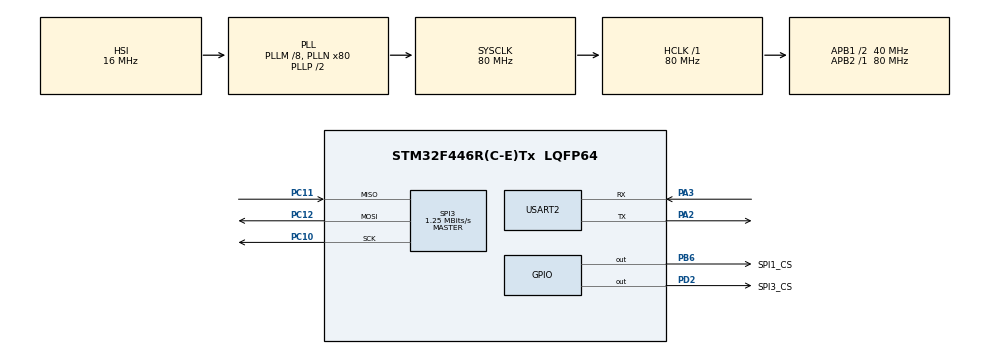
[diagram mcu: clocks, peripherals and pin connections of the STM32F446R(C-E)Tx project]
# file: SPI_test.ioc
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Mcu.Family=STM32F4
Mcu.Name=STM32F446R(C-E)Tx
Mcu.Package=LQFP64
NVIC.PriorityGroup=NVIC_PRIORITYGROUP_4
PA2.Mode=Asynchronous
PA2.Signal=USART2_TX
PA3.Mode=Asynchronous
PA3.Signal=USART2_RX
PB6.GPIO_Label=SPI1_CS
PB6.GPIO_Speed=GPIO_SPEED_FREQ_VERY_HIGH
PB6.PinState=GPIO_PIN_SET
PB6.Signal=GPIO_Output
PC10.Mode=Full_Duplex_Master
PC10.Signal=SPI3_SCK
PC11.Mode=Full_Duplex_Master
PC11.Signal=SPI3_MISO
PC12.Mode=Full_Duplex_Master
PC12.Signal=SPI3_MOSI
PD2.GPIO_Label=SPI3_CS
PD2.Signal=GPIO_Output
ProjectManager.HeapSize=0x200
ProjectManager.StackSize=0x400
ProjectManager.TargetToolchain=STM32CubeIDE
RCC.AHBFreq_Value=80000000
RCC.APB1CLKDivider=RCC_HCLK_DIV2
RCC.APB1Freq_Value=40000000
RCC.APB1TimFreq_Value=80000000
RCC.APB2Freq_Value=80000000
RCC.APB2TimFreq_Value=80000000
RCC.CortexFreq_Value=80000000
RCC.HCLKFreq_Value=80000000
RCC.PLLM=8
RCC.PLLN=80
RCC.SYSCLKFreq_VALUE=80000000
RCC.SYSCLKSource=RCC_SYSCLKSOURCE_PLLCLK
RCC.USBFreq_Value=80000000
RCC.VCOOutputFreq_Value=160000000
SPI3.BaudRatePrescaler=SPI_BAUDRATEPRESCALER_32
SPI3.CLKPhase=SPI_PHASE_2EDGE
SPI3.CalculateBaudRate=1.25 MBits/s
SPI3.Direction=SPI_DIRECTION_2LINES
SPI3.Mode=SPI_MODE_MASTER
SPI3.VirtualType=VM_MASTER
USART2.VirtualMode=VM_ASYNC
board=custom

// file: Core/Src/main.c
/* USER CODE BEGIN Header */
/**
  ******************************************************************************
  * @file           : main.c
  * @brief          : Main program body
  ******************************************************************************
  * @attention
  *
  * Copyright (c) 2025 STMicroelectronics.
  * All rights reserved.
  *
  * This software is licensed under terms that can be found in the LICENSE file
  * in the root directory of this software component.
  * If no LICENSE file comes with this software, it is provided AS-IS.
  *
  ******************************************************************************
  */
/* USER CODE END Header */
#include "main.h"
#include "spi.h"
#include "usart.h"
#include "gpio.h"

/* USER CODE BEGIN Includes */
#include <stdio.h>
#include "as5048a.h"
#include "delay_us.h"
/* USER CODE END Includes */

void SystemClock_Config(void);

/* USER CODE BEGIN 0 */
int __io_putchar(int ch)
{
    if (ch == '\n') {
        uint8_t ch2 = '\r';
        HAL_UART_Transmit(&huart2, &ch2, 1, HAL_MAX_DELAY);
    }

    HAL_UART_Transmit(&huart2, (uint8_t*)&ch, 1, HAL_MAX_DELAY);
    return 1;
}
/* USER CODE END 0 */

int main(void)
{

  /* MCU Configuration--------------------------------------------------------*/

  /* Reset of all peripherals, Initializes the Flash interface and the Systick. */
  HAL_Init();

  /* Configure the system clock */
  SystemClock_Config();

  /* Initialize all configured peripherals */
  MX_GPIO_Init();
  MX_USART2_UART_Init();
  MX_SPI3_Init();
  /* USER CODE BEGIN 2 */
  DWT_Init();
  /* USER CODE END 2 */

  /* Infinite loop */
  /* USER CODE BEGIN WHILE */
  while (1)
  {
//	  HAL_GPIO_WritePin(SPI1_CS_GPIO_Port, SPI1_CS_Pin, GPIO_PIN_RESET);
//
//	  uint8_t tx[3] = {0xA2, 0x87, 0xB3};
//	  uint8_t rx[3];
//	  HAL_SPI_Transmit(&hspi1, tx, 3, HAL_MAX_DELAY);
//
//	  HAL_GPIO_WritePin(SPI1_CS_GPIO_Port, SPI1_CS_Pin, GPIO_PIN_SET);
//	  HAL_Delay(500);

	printf("\n\n\n==============================");
	printf("\n       START WHILE\n");
	printf("==============================\n");

	const float angle = AS5048_Get_Angle_Deg();
	if (angle >= 0) {
		printf("[ANGLE] Kąt: %.2f°\n", angle);
	} else {
		printf("[ANGLE] Błąd odczytu kąta\n");
	}

//	AS5048_Diagnose();

	printf("==============================");
	printf("\n        STOP WHILE\n");
	printf("==============================\n");

	HAL_Delay(5000);

    /* USER CODE END WHILE */

  }
}

void SystemClock_Config(void)
{
  RCC_OscInitTypeDef RCC_OscInitStruct = {0};
  RCC_ClkInitTypeDef RCC_ClkInitStruct = {0};

  /** Configure the main internal regulator output voltage
  */
  __HAL_RCC_PWR_CLK_ENABLE();
  __HAL_PWR_VOLTAGESCALING_CONFIG(PWR_REGULATOR_VOLTAGE_SCALE3);

  /** Initializes the RCC Oscillators according to the specified parameters
  * in the RCC_OscInitTypeDef structure.
  */
  RCC_OscInitStruct.OscillatorType = RCC_OSCILLATORTYPE_HSI;
  RCC_OscInitStruct.HSIState = RCC_HSI_ON;
  RCC_OscInitStruct.HSICalibrationValue = RCC_HSICALIBRATION_DEFAULT;
  RCC_OscInitStruct.PLL.PLLState = RCC_PLL_ON;
  RCC_OscInitStruct.PLL.PLLSource = RCC_PLLSOURCE_HSI;
  RCC_OscInitStruct.PLL.PLLM = 8;
  RCC_OscInitStruct.PLL.PLLN = 80;
  RCC_OscInitStruct.PLL.PLLP = RCC_PLLP_DIV2;
  RCC_OscInitStruct.PLL.PLLQ = 2;
  RCC_OscInitStruct.PLL.PLLR = 2;
  if (HAL_RCC_OscConfig(&RCC_OscInitStruct) != HAL_OK)
  {
    Error_Handler();
  }

  /** Initializes the CPU, AHB and APB buses clocks
  */
  RCC_ClkInitStruct.ClockType = RCC_CLOCKTYPE_HCLK|RCC_CLOCKTYPE_SYSCLK
                              |RCC_CLOCKTYPE_PCLK1|RCC_CLOCKTYPE_PCLK2;
  RCC_ClkInitStruct.SYSCLKSource = RCC_SYSCLKSOURCE_PLLCLK;
  RCC_ClkInitStruct.AHBCLKDivider = RCC_SYSCLK_DIV1;
  RCC_ClkInitStruct.APB1CLKDivider = RCC_HCLK_DIV2;
  RCC_ClkInitStruct.APB2CLKDivider = RCC_HCLK_DIV1;

  if (HAL_RCC_ClockConfig(&RCC_ClkInitStruct, FLASH_LATENCY_2) != HAL_OK)
  {
    Error_Handler();
  }
}

void Error_Handler(void)
{
  __disable_irq();
  while (1)
  {
  }
}
